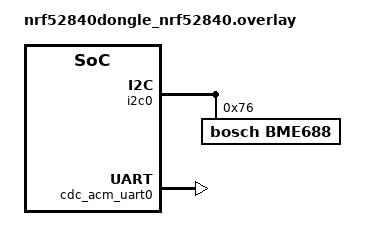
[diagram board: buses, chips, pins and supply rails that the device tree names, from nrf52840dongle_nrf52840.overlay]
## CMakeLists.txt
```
# SPDX-License-Identifier: Apache-2.0

cmake_minimum_required(VERSION 3.20.0)
find_package(Zephyr REQUIRED HINTS $ENV{ZEPHYR_BASE})
project(bme688)

FILE(GLOB app_sources src/*.c)
target_sources(app PRIVATE ${app_sources})
```

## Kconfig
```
config USB_DEVICE_PID
	default USB_PID_CONSOLE_SAMPLE

source "Kconfig.zephyr"
```

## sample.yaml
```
sample:
  name: BME688 Sensor sample
tests:
  sample.sensor.bme680:
    harness: sensor
    tags: samples sensor
    integration_platforms:
      - nrf52840dongle_nrf52840
    platform_allow: nrf52840dongle_nrf52840
  sample.sensor.bme688.i2c:
    harness: console
    tags: sensors
    depends_on: i2c bme688
    extra_args: "DTC_OVERLAY_FILE=nrf52840dongle_nrf52840.overlay"
    harness_config:
        type: one_line
        regex:
            - "temp: (.*); press: (.*); humidity: (.*)"
        fixture: fixture_i2c_bme688
  sample.usb.console:
    depends_on: usb_device usb_cdc
    tags: usb
    platform_exclude: native_posix native_posix_64
    harness: console
    harness_config:
      fixture: fixture_usb_cdc
```

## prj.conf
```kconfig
CONFIG_USB_DEVICE_STACK=y
CONFIG_USB_DEVICE_PRODUCT="BME688 Example"
CONFIG_SERIAL=y
CONFIG_CONSOLE=y
CONFIG_UART_CONSOLE=y
CONFIG_UART_LINE_CTRL=y

CONFIG_SENSOR=y
CONFIG_BME688=y 

CONFIG_LOG=y
CONFIG_I2C=y

CONFIG_GPIO=y
```

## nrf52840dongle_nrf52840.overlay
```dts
&i2c0 {
	bme688@76 {
		compatible = "bosch,bme688";
		reg = <0x76>;
		status = "okay";
	};
};
/ {
	chosen {
		zephyr,console = &cdc_acm_uart0;
	};
};

&zephyr_udc0 {
	cdc_acm_uart0: cdc_acm_uart0 {
		compatible = "zephyr,cdc-acm-uart";
	};
};
```

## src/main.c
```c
#include <stdio.h>
#include <zephyr.h>
#include <device.h>
#include <devicetree.h>
#include <drivers/sensor.h>
#include <usb/usb_device.h>
#include <drivers/uart.h>
#include <sys/printk.h>

void main(void){
	const struct device *dev = DEVICE_DT_GET_ANY(bosch_bme688);
	const struct device *dev_console = DEVICE_DT_GET(DT_CHOSEN(zephyr_console));
    struct sensor_value temp, press, humidity, gas_res;
    uint32_t dtr = 0;

    if (usb_enable(NULL)){
		return;
	}

	/* Poll if the DTR flag was set */
	while (!dtr) {
		uart_line_ctrl_get(dev_console, UART_LINE_CTRL_DTR, &dtr);
		/* Give CPU resources to low priority threads. */
		k_sleep(K_MSEC(100));
	}

	if (dev == NULL) {
		printk("\nError: no device found.\n");
	}

    while (1) {
		sensor_sample_fetch(dev);
		sensor_channel_get(dev, SENSOR_CHAN_AMBIENT_TEMP, &temp);
		sensor_channel_get(dev, SENSOR_CHAN_PRESS, &press);
		sensor_channel_get(dev, SENSOR_CHAN_HUMIDITY, &humidity);
		sensor_channel_get(dev, SENSOR_CHAN_GAS_RES, &gas_res);

		printf("T: %d.%06d; P: %d.%06d; H: %d.%06d; G: %d.%06d\n",
				temp.val1, temp.val2, press.val1, press.val2,
				humidity.val1, humidity.val2, gas_res.val1,
				gas_res.val2);
        k_sleep(K_MSEC(10000));
    }
}
```
